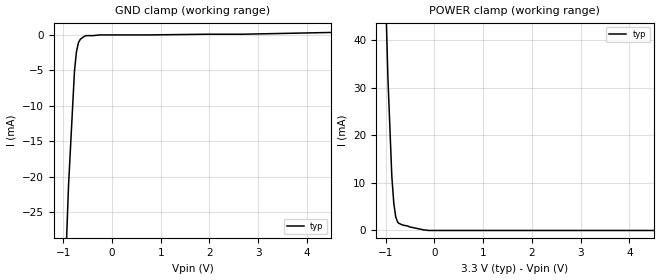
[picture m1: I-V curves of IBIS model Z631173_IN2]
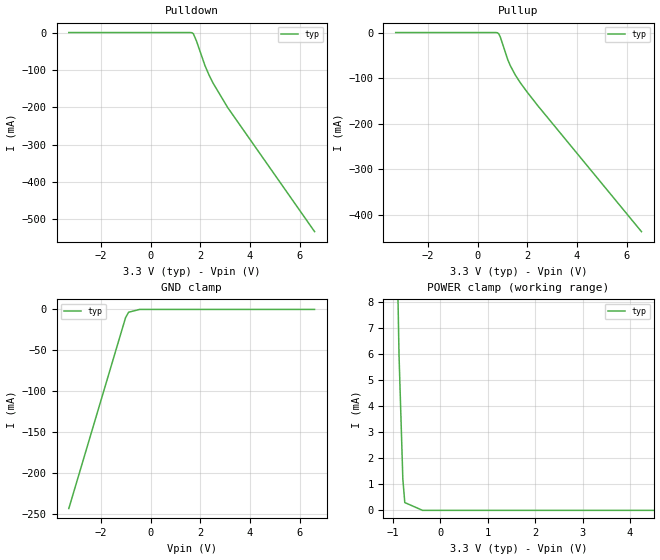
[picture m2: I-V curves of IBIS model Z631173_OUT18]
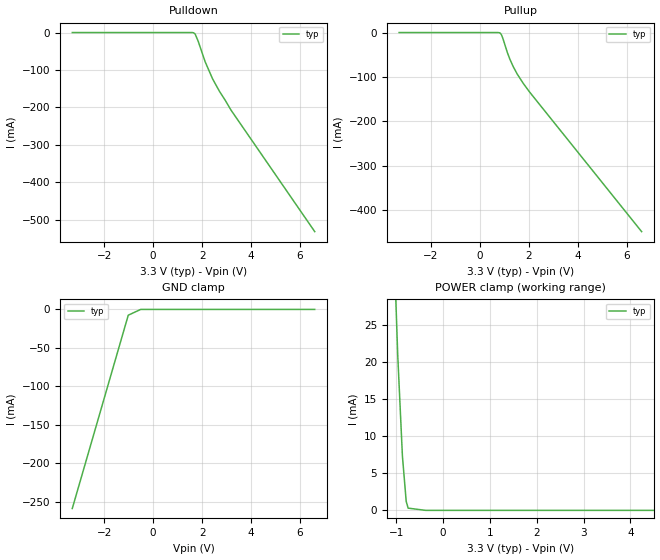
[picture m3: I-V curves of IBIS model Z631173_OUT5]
| YOU ARE ONLY AUTHORIZED TO USE THIS SOFTWARE
| ACCORDING TO LICENSOR'S LICENSE RESTRICTIONS.
[IBIS Ver] 3.1
[File Name] mc100lve111fn_33.ibs
[File Rev] 2.0
[Source] Measured and created by ICX Technology
[Date] Thursday 11/2/00 9:36:00 AM
[Copyright]
| (C) COPYRIGHT 1993-2000
| MENTOR GRAPHICS CORPORATION
| ICX STANDARD LIBRARY, ICX PROJECT MODELING,
| ICX CUSTOM MODELING, ICX VENDOR MODEL
| ALL RIGHTS RESERVED.
| THE FOLLOWING ARE TRADEMARKS OR SERVICE MARKS OF
| MENTOR GRAPHICS CORPORATION:ICX (R), ICX STANDARD
| LIBRARY(R), ICX PROJECT MODELING(R), ICX CUSTOM
| MODELING(R), qualityIBIS(TM), MODELVIEWER(TM),
| AND MODELEDITOR(TM)
| ALL COPIES OF SOFTWARE, INCLUDING BUT NOT LIMITED TO
| ANY MODIFICATIONS, ENHANCEMENTS OR DERIVATIVE WORKS,
| MUST CONTAIN ALL MENTOR GRAPHICS CORPORATION'S
| NOTICES AND LEGENDS, INCLUDING THOSE EMBEDDED IN
| SOFTWARE AND THOSE AFFIXED TO SOFTWARE MEDIUM
| AND CONTAINER, AS RECEIVED FROM MENTOR GRAPHICS
| CORPORATION.
|  ZAP Model Builder 2.8
[Component] MC100LVE111FN_33
[Manufacturer] OnSeminconductor
[Package]
| variable   typ   min   max
R_pkg  .083ohms NA NA
L_pkg  4.299nH NA NA
C_pkg  1.045pF NA NA
[Pin] signal_name  model_name  R_pin  L_pin C_pin
1 VCC POWER .08 3.94n .925p
2 _IN Z631173_IN2 .082 4.14n .995p
3 VBB NC .084 4.354n 1.065p
4 NC NC .086 4.583n 1.135p
5 _Q8 Z631173_OUT5 .086 4.583n 1.135p
6 Q8 Z631173_OUT18 .084 4.354n 1.065p
7 _Q7 Z631173_OUT5 .082 4.14n .995p
8 VCCO POWER .08 3.94n .925p
9 Q7 Z631173_OUT18 .082 4.14n .995p
10 _Q6 Z631173_OUT5 .084 4.354n 1.065p
11 Q6 Z631173_OUT18 .086 4.583n 1.135p
12 _Q5 Z631173_OUT5 .086 4.583n 1.135p
13 Q5 Z631173_OUT18 .084 4.354n 1.065p
14 _Q4 Z631173_OUT5 .082 4.14n .995p
15 VCCO POWER .08 3.94n .925p
16 Q4 Z631173_OUT18 .082 4.14n .995p
17 _Q3 Z631173_OUT5 .084 4.354n 1.065p
18 Q3 Z631173_OUT18 .086 4.583n 1.135p
19 _Q2 Z631173_OUT5 .086 4.583n 1.135p
20 Q2 Z631173_OUT18 .084 4.354n 1.065p
21 _Q1 Z631173_OUT5 .082 4.14n .995p
22 VCCO POWER .08 3.94n .925p
23 Q1 Z631173_OUT18 .082 4.14n .995p
24 _Q0 Z631173_OUT5 .084 4.354n 1.065p
25 Q0 Z631173_OUT18 .086 4.583n 1.135p
26 VEE POWER .086 4.583n 1.135p
27 NC NC .084 4.354n 1.065p
28 IN Z631173_IN2 .082 4.14n .995p
[Diff Pin] inv_pin vdiff tdelay_typ tdelay_min tdelay_max
28 2 500mv NA NA NA
6 5 NA NA NA .2ns
9 7 NA NA NA .2ns
11 10 NA NA NA .2ns
13 12 NA NA NA .2ns
16 14 NA NA NA .2ns
18 17 NA NA NA .2ns
20 19 NA NA NA .2ns
23 21 NA NA NA .2ns
25 24 NA NA NA .2ns
| Models and submodels in the file (3): Z631173_IN2 (Input_ECL), Z631173_OUT18 (Output_ECL), Z631173_OUT5 (Output_ECL)
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| (C) COPYRIGHT 1993-2000
| MENTOR GRAPHICS CORPORATION
| ICX STANDARD LIBRARY, ICX PROJECT MODELING,
| ICX CUSTOM MODELING, ICX VENDOR MODEL
| ALL RIGHTS RESERVED.
| THE FOLLOWING ARE TRADEMARKS OR SERVICE MARKS OF
| MENTOR GRAPHICS CORPORATION:ICX (R), ICX STANDARD
| LIBRARY(R), ICX PROJECT MODELING(R), ICX CUSTOM
| MODELING(R), qualityIBIS(TM), MODELVIEWER(TM),
| AND MODELEDITOR(TM)
| ALL COPIES OF SOFTWARE, INCLUDING BUT NOT LIMITED TO
| ANY MODIFICATIONS, ENHANCEMENTS OR DERIVATIVE WORKS,
| MUST CONTAIN ALL MENTOR GRAPHICS CORPORATION'S
| NOTICES AND LEGENDS, INCLUDING THOSE EMBEDDED IN
| SOFTWARE AND THOSE AFFIXED TO SOFTWARE MEDIUM
| AND CONTAINER, AS RECEIVED FROM MENTOR GRAPHICS
| CORPORATION.
| Model Application Version 1.89 2/18/99.
[Model] Z631173_IN2
Model_type Input_ECL
Vinl = 1.825V
Vinh = 2.135V
C_comp 3.000pF NA NA
| variable typ   min   max
[Voltage Range] 3.300V NA NA
[GND Clamp Reference] 0.000V NA NA
[POWER Clamp Reference] 3.300V NA NA
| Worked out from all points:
|   GND clamp passes 1 mA (typ) near -0.68 V on its own axis
|   POWER clamp passes 1 mA (typ) near -0.58 V on its own axis
[GND Clamp]
-3.3V     -550.9mA   NA         NA
-1.034V   -47.9mA    NA         NA
-892mV    -21.2mA    NA         NA
-770mV    -5.1mA     NA         NA
-730mV    -2.4mA     NA         NA
-689mV    -1.1mA     NA         NA
-649mV    -600uA     NA         NA
-567mV    -200uA     NA         NA
-248.3mV  0A         NA         NA
2.696V    100uA      NA         NA
6.6V      634.8uA    NA         NA
[POWER Clamp]
-3.3V     1.103A     NA         NA
-1.058V   70.47mA    NA         NA
-957mV    32.29mA    NA         NA
-876mV    11.4mA     NA         NA
-835mV    5.703mA    NA         NA
-795mV    2.808mA    NA         NA
-754mV    1.714mA    NA         NA
-652mV    1.128mA    NA         NA
-124mV    0A         NA         NA
6.6V      0A         NA         NA
| (C) COPYRIGHT 1993-2000
| MENTOR GRAPHICS CORPORATION
| ICX STANDARD LIBRARY, ICX PROJECT MODELING,
| ICX CUSTOM MODELING, ICX VENDOR MODEL
| ALL RIGHTS RESERVED.
| THE FOLLOWING ARE TRADEMARKS OR SERVICE MARKS OF
| MENTOR GRAPHICS CORPORATION:ICX (R), ICX STANDARD
| LIBRARY(R), ICX PROJECT MODELING(R), ICX CUSTOM
| MODELING(R), qualityIBIS(TM), MODELVIEWER(TM),
| AND MODELEDITOR(TM)
| ALL COPIES OF SOFTWARE, INCLUDING BUT NOT LIMITED TO
| ANY MODIFICATIONS, ENHANCEMENTS OR DERIVATIVE WORKS,
| MUST CONTAIN ALL MENTOR GRAPHICS CORPORATION'S
| NOTICES AND LEGENDS, INCLUDING THOSE EMBEDDED IN
| SOFTWARE AND THOSE AFFIXED TO SOFTWARE MEDIUM
| AND CONTAINER, AS RECEIVED FROM MENTOR GRAPHICS
| CORPORATION.
| Model Application Version 1.89 2/18/99.
[Model] Z631173_OUT18
Model_type Output_ECL
Vref=1.300V
Rref=50.00ohms
Cref=0.000F
Vmeas=1.977V
C_comp 8.000pF NA NA
| variable typ   min   max
[Voltage Range] 3.300V NA NA
[POWER Clamp Reference] 3.300V NA NA
[Pullup Reference] 3.300V NA NA
[Pulldown Reference] 3.300V NA NA
[GND Clamp Reference] 0.000V NA NA
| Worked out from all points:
|   POWER clamp passes 1 mA (typ) near -0.78 V on its own axis
[GND Clamp]
-3.3V     -243.7mA   NA         NA
-1.014V   -10.08mA   NA         NA
-892mV    -3.447mA   NA         NA
-446mV    0A         NA         NA
6.6V      0A         NA         NA
[Pulldown]
-3.3V     0A         NA         NA
1.678V    -1.2mA     NA         NA
1.719V    -3.6mA     NA         NA
1.841V    -22.4mA    NA         NA
2.185V    -88.5mA    NA         NA
2.347V    -113.5mA   NA         NA
2.509V    -135.1mA   NA         NA
3.097V    -200.4mA   NA         NA
6.6V      -532.6mA   NA         NA
[Pullup]
-3.3V     0A         NA         NA
731mV     0A         NA         NA
792mV     -400uA     NA         NA
852mV     -2.8mA     NA         NA
913mV     -9.6mA     NA         NA
1.217V    -60mA      NA         NA
1.318V    -72.8mA    NA         NA
1.521V    -93.5mA    NA         NA
1.724V    -110.5mA   NA         NA
1.987V    -130.1mA   NA         NA
2.413V    -159.8mA   NA         NA
6.6V      -437.1mA   NA         NA
[POWER Clamp]
-3.3V     512.3mA    NA         NA
-1.073V   39.5mA     NA         NA
-1.033V   22.2mA     NA         NA
-871mV    6mA        NA         NA
-790mV    1.2mA      NA         NA
-749mV    300uA      NA         NA
-374.5mV  0A         NA         NA
6.6V      0A         NA         NA
[Ramp]
| variable typ min max
dV/dt_r 412.5m/145.7p NA NA
dV/dt_f 412.5m/137.4p NA NA
R_load = 50.00Ohms
| (C) COPYRIGHT 1993-2000
| MENTOR GRAPHICS CORPORATION
| ICX STANDARD LIBRARY, ICX PROJECT MODELING,
| ICX CUSTOM MODELING, ICX VENDOR MODEL
| ALL RIGHTS RESERVED.
| THE FOLLOWING ARE TRADEMARKS OR SERVICE MARKS OF
| MENTOR GRAPHICS CORPORATION:ICX (R), ICX STANDARD
| LIBRARY(R), ICX PROJECT MODELING(R), ICX CUSTOM
| MODELING(R), qualityIBIS(TM), MODELVIEWER(TM),
| AND MODELEDITOR(TM)
| ALL COPIES OF SOFTWARE, INCLUDING BUT NOT LIMITED TO
| ANY MODIFICATIONS, ENHANCEMENTS OR DERIVATIVE WORKS,
| MUST CONTAIN ALL MENTOR GRAPHICS CORPORATION'S
| NOTICES AND LEGENDS, INCLUDING THOSE EMBEDDED IN
| SOFTWARE AND THOSE AFFIXED TO SOFTWARE MEDIUM
| AND CONTAINER, AS RECEIVED FROM MENTOR GRAPHICS
| CORPORATION.
| Model Application Version 1.89 2/18/99.
[Model] Z631173_OUT5
Model_type Output_ECL
Vref=1.300V
Rref=50.00ohms
Cref=0.000F
Vmeas=1.977V
C_comp 8.000pF NA NA
| variable typ   min   max
[Voltage Range] 3.300V NA NA
[POWER Clamp Reference] 3.300V NA NA
[Pullup Reference] 3.300V NA NA
[Pulldown Reference] 3.300V NA NA
[GND Clamp Reference] 0.000V NA NA
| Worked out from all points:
|   POWER clamp passes 1 mA (typ) near -0.78 V on its own axis
[GND Clamp]
-3.3V     -258.9mA   NA         NA
-1.014V   -7.514mA   NA         NA
-507mV    0A         NA         NA
6.6V      0A         NA         NA
[Pulldown]
-3.3V     0A         NA         NA
1.577V    0A         NA         NA
1.618V    -200uA     NA         NA
1.658V    -800uA     NA         NA
1.719V    -4.3mA     NA         NA
1.841V    -23.3mA    NA         NA
2.124V    -77.9mA    NA         NA
2.428V    -123.7mA   NA         NA
2.712V    -157.3mA   NA         NA
2.955V    -182.1mA   NA         NA
3.178V    -207mA     NA         NA
6.6V      -532mA     NA         NA
[Pullup]
-3.3V     0A         NA         NA
731mV     0A         NA         NA
832mV     -1.6mA     NA         NA
873mV     -4.7mA     NA         NA
934mV     -13mA      NA         NA
1.116V    -44.7mA    NA         NA
1.217V    -59.5mA    NA         NA
1.359V    -76.9mA    NA         NA
1.521V    -93.5mA    NA         NA
1.765V    -114.3mA   NA         NA
2.028V    -134.1mA   NA         NA
6.6V      -448.2mA   NA         NA
[POWER Clamp]
-3.3V     449mA      NA         NA
-972mV    21mA       NA         NA
-871mV    7.3mA      NA         NA
-790mV    1.2mA      NA         NA
-749mV    300uA      NA         NA
-374.5mV  0A         NA         NA
6.6V      0A         NA         NA
[Ramp]
| variable typ min max
dV/dt_r 409.1m/173.2p NA NA
dV/dt_f 409.1m/142.7p NA NA
R_load = 50.00Ohms
